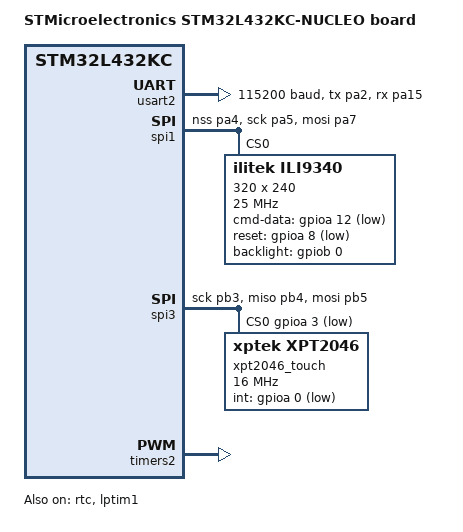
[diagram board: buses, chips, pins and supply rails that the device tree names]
/*
 * SPDX-License-Identifier: Apache-2.0
 */

/dts-v1/;
#include <st/l4/stm32l432Xc.dtsi>
#include <st/l4/stm32l432k(b-c)ux-pinctrl.dtsi>
#include <dt-bindings/display/ili9xxx.h>

/ {
	model = "STMicroelectronics STM32L432KC-NUCLEO board";
	compatible = "st,stm32l432kc-nucleo";

	chosen {
		zephyr,console = &usart2;
		zephyr,shell-uart = &usart2;
		zephyr,sram = &sram0;
		zephyr,flash = &flash0;
		zephyr,display = &ili9340;
	};

	lvgl_pointer {
		compatible = "zephyr,lvgl-pointer-input";
		input = <&xpt2046_touch>;
		// swap-xy;
		invert-x;
		invert-y;
	};
};

&clk_hsi {
	status = "okay";
};

&pll {
	div-m = <1>;
	mul-n = <20>;
	div-p = <7>;
	div-q = <2>;
	div-r = <4>;
	clocks = <&clk_hsi>;
	status = "okay";
};

&rcc {
	clocks = <&pll>;
	clock-frequency = <DT_FREQ_M(80)>;
	ahb-prescaler = <1>;
	apb1-prescaler = <1>;
	apb2-prescaler = <1>;
};

&usart2 {
	pinctrl-0 = <&usart2_tx_pa2 &usart2_rx_pa15>;
	pinctrl-names = "default";
	current-speed = <115200>;
	status = "okay";
};

&spi1 {
	pinctrl-0 = <&spi1_nss_pa4 &spi1_sck_pa5
			  &spi1_mosi_pa7>;
	pinctrl-names = "default";
	status = "okay";

	ili9340: ili9340@0 {
		compatible = "ilitek,ili9340";
		spi-max-frequency = <25000000>;
		reg = <0>;
		cmd-data-gpios = <&gpioa 12 (GPIO_ACTIVE_LOW)>; 
		reset-gpios = <&gpioa 8 (GPIO_ACTIVE_LOW)>; 
		backlight-gpios = <&gpiob 0 (GPIO_ACTIVE_HIGH)>;
		pixel-format = <ILI9XXX_PIXEL_FORMAT_RGB565>;
		rotation = <270>;
		width = <320>;
		height = <240>;
	};
};

&spi3 {
	pinctrl-0 = <&spi3_sck_pb3 &spi3_miso_pb4
			  &spi3_mosi_pb5>;
	pinctrl-names = "default";
	cs-gpios = <&gpioa 3 GPIO_ACTIVE_LOW>;
	status = "okay";

	/* one entry for every devices */
	cs-gpios = <&gpioa 3 GPIO_ACTIVE_LOW>;

	xpt2046_touch: xpt2046@0 {
		compatible = "xptek,xpt2046";
		spi-max-frequency = <16000000>;
		reg = <0x0>;
		int-gpios = <&gpioa 0 GPIO_ACTIVE_LOW>;
		touchscreen-size-x = <320>;
		touchscreen-size-y = <240>;
		min-x = <200>;
		min-y = <200>;
		max-x = <3800>;
		max-y = <3800>;
	};
};

// &i2c1 {
// 	pinctrl-0 = <&i2c1_scl_pb6 &i2c1_sda_pb7>;
// 	pinctrl-names = "default";
// 	clock-frequency = <I2C_BITRATE_FAST>;
// 	status = "okay";
// };

&timers2 {
	status = "okay";

	pwm2: pwm {
		status = "okay";
		pinctrl-0 = <&tim2_ch1_pa0>;
		pinctrl-names = "default";
	};
};

&rtc {
	status = "okay";
};

&lptim1 {
	status = "okay";
};

// &flash0 {
// 	partitions {
// 		compatible = "fixed-partitions";
// 		#address-cells = <1>;
// 		#size-cells = <1>;
 
// 		/*
// 		* Reserve the final 16 KiB for file system partition
// 		*/
// 		storage_partition: partition@3c000 {
// 			label = "storage";
// 			reg = <0x0003c000 0x00004000>;
// 		};
// 	};
// };
